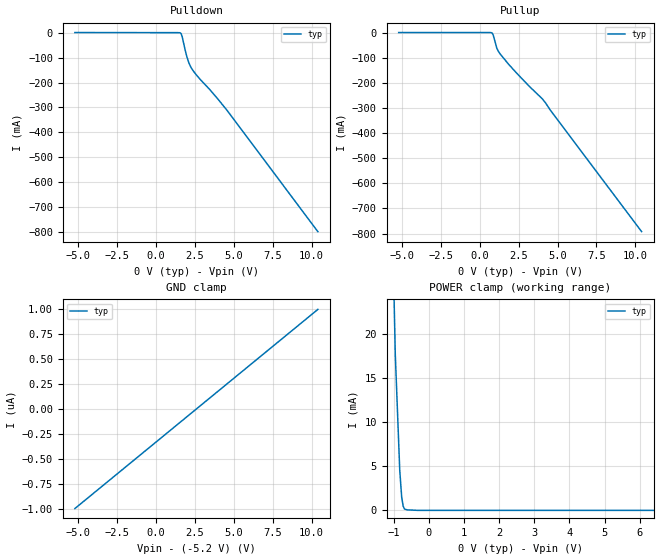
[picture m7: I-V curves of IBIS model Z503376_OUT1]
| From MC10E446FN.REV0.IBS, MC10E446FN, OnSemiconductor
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| (C) COPYRIGHT 1993-2000
| MENTOR GRAPHICS CORPORATION
| ICX STANDARD LIBRARY, ICX PROJECT MODELING,
| ICX CUSTOM MODELING, ICX VENDOR MODEL
| ALL RIGHTS RESERVED.
| THE FOLLOWING ARE TRADEMARKS OR SERVICE MARKS OF
| MENTOR GRAPHICS CORPORATION:ICX (R), ICX STANDARD
| LIBRARY(R), ICX PROJECT MODELING(R), ICX CUSTOM
| MODELING(R), qualityIBIS(TM), MODELVIEWER(TM),
| AND MODELEDITOR(TM)
| ALL COPIES OF SOFTWARE, INCLUDING BUT NOT LIMITED TO
| ANY MODIFICATIONS, ENHANCEMENTS OR DERIVATIVE WORKS,
| MUST CONTAIN ALL MENTOR GRAPHICS CORPORATION'S
| NOTICES AND LEGENDS, INCLUDING THOSE EMBEDDED IN
| SOFTWARE AND THOSE AFFIXED TO SOFTWARE MEDIUM
| AND CONTAINER, AS RECEIVED FROM MENTOR GRAPHICS
| CORPORATION.
| Model Application Version 1.89 2/18/99.
[Model] Z503376_OUT1
Model_type Output_ECL
Vref=-2.000V
Rref=50.00ohms
Cref=0.000F
Vmeas=-1.320V
C_comp 8.000pF NA NA
| variable typ   min   max
[Voltage Range] -5.200V NA NA
[POWER Clamp Reference] 0.000V NA NA
[Pullup Reference] 0.000V NA NA
[Pulldown Reference] 0.000V NA NA
[GND Clamp Reference] -5.200V NA NA
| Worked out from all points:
|   POWER clamp passes 1 mA (typ) near -0.75 V on its own axis
[GND Clamp]
-5.2V     -1uA       NA         NA
10.4V     1uA        NA         NA
[Pulldown]
-5.2V     433uA      NA         NA
1.583V    -1.839mA   NA         NA
1.686V    -15.51mA   NA         NA
1.883V    -70.93mA   NA         NA
1.993V    -97.7mA    NA         NA
2.112V    -120.2mA   NA         NA
2.248V    -139mA     NA         NA
2.43V     -156.1mA   NA         NA
3.434V    -226.4mA   NA         NA
4.596V    -313.7mA   NA         NA
10.4V     -797.7mA   NA         NA
[Pullup]
-5.2V     56.05uA    NA         NA
804.4mV   -2.384mA   NA         NA
874mV     -10.41mA   NA         NA
1.099V    -61.58mA   NA         NA
1.33V     -86.28mA   NA         NA
2.329V    -158.4mA   NA         NA
4.014V    -263.2mA   NA         NA
4.233V    -280.1mA   NA         NA
4.537V    -308.8mA   NA         NA
10.4V     -792.6mA   NA         NA
[POWER Clamp]
-5.2V     1.755A     NA         NA
-1.134V   86.3mA     NA         NA
-1.016V   29.62mA    NA         NA
-950.8mV  17.73mA    NA         NA
-823.9mV  4.547mA    NA         NA
-769mV    1.504mA    NA         NA
-726.6mV  477.6uA    NA         NA
-688.2mV  147.7uA    NA         NA
-610.4mV  53.55uA    NA         NA
-305.2mV  0A         NA         NA
10.4V     0A         NA         NA
[Ramp]
| variable typ min max
dV/dt_r 428.5m/407.7p NA NA
dV/dt_f 428.5m/409.5p NA NA
R_load = 50.00Ohms
